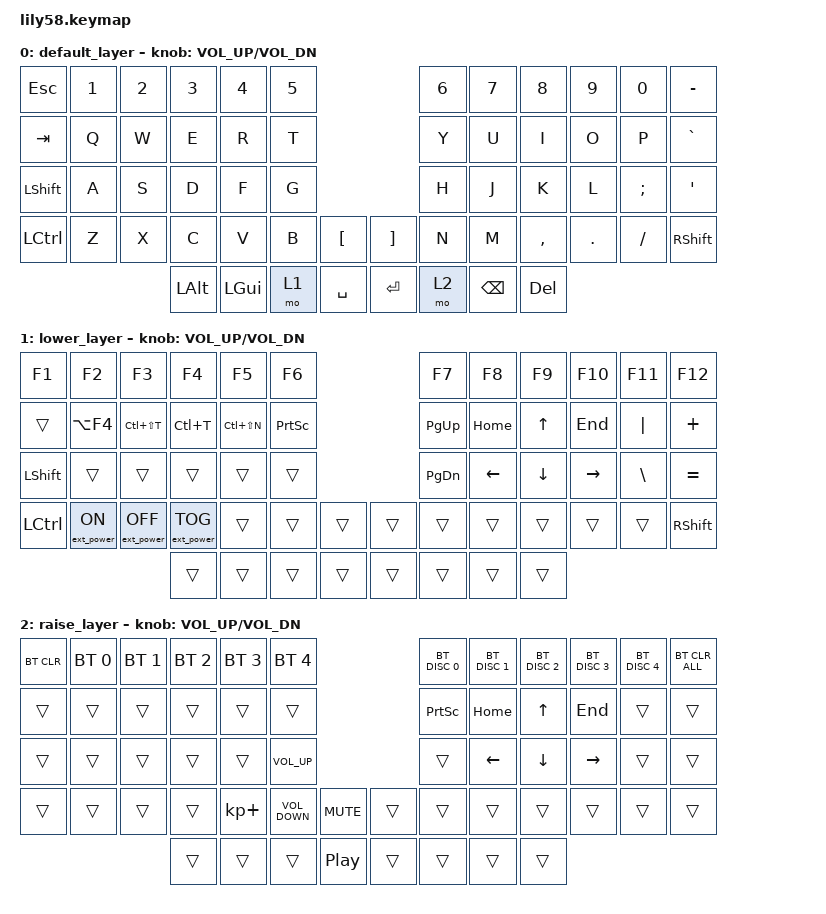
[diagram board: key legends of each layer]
/*
 * Copyright (c) 2020 The ZMK Contributors
 *
 * SPDX-License-Identifier: MIT
 */

#include <behaviors.dtsi>
#include <dt-bindings/zmk/bt.h>
#include <dt-bindings/zmk/ext_power.h>
#include <dt-bindings/zmk/keys.h>

/ {
    keymap {
        compatible = "zmk,keymap";

        default_layer {
            // ------------------------------------------------------------------------------------------------------------
            // |  ESC  |  1  |  2  |  3   |  4   |  5   |                   |  6   |  7    |  8    |  9   |   0   |   `   |
            // |  TAB  |  Q  |  W  |  E   |  R   |  T   |                   |  Y   |  U    |  I    |  O   |   P   |   -   |
            // |  CTRL |  A  |  S  |  D   |  F   |  G   |                   |  H   |  J    |  K    |  L   |   ;   |   '   |
            // | SHIFT |  Z  |  X  |  C   |  V   |  B   |   "["  |  |  "]"  |  N   |  M    |  ,    |  .   |   /   | SHIFT |
            //                     | ALT  | GUI  | LOWER|  SPACE |  | ENTER | RAISE| BSPC  | GUI   |

            bindings = <
&kp ESC           &kp N1  &kp N2  &kp N3    &kp N4    &kp N5                         &kp N6  &kp N7         &kp N8      &kp N9   &kp N0    &kp MINUS
&kp TAB           &kp Q   &kp W   &kp E     &kp R     &kp T                          &kp Y   &kp U          &kp I       &kp O    &kp P     &kp GRAVE
&kp LEFT_SHIFT    &kp A   &kp S   &kp D     &kp F     &kp G                          &kp H   &kp J          &kp K       &kp L    &kp SEMI  &kp SQT
&kp LEFT_CONTROL  &kp Z   &kp X   &kp C     &kp V     &kp B   &kp LBKT     &kp RBKT  &kp N   &kp M          &kp COMMA   &kp DOT  &kp FSLH  &kp RSHFT
                                  &kp LALT  &kp LGUI  &mo 1   &kp SPACE    &kp RET   &mo 2   &kp BACKSPACE  &kp DELETE
            >;

            sensor-bindings = <&inc_dec_kp C_VOL_UP C_VOL_DN>;
        };

        lower_layer {
            // ------------------------------------------------------------------------------------------------------------
            // | BTCLR | BT1 | BT2 |  BT3 |  BT4 |  BT5 |                   |      |       |       |      |       |       |
            // |  F1   |  F2 |  F3 |  F4  |  F5  |  F6  |                   |  F7  |  F8   |  F9   |  F10 |  F11  |  F12  |
            // |   `   |  !  |  @  |  #   |  $   |  %   |                   |  ^   |  &    |  *    |  (   |   )   |   ~   |
            // |       |     |     |      |      |      |        |  |       |      |  _    |  +    |  {   |   }   |  "|"  |
            //                     |      |      |      |        |  |       |      |       |       |

            bindings = <
&kp F1            &kp F2            &kp F3             &kp F4             &kp F5         &kp F6                             &kp F7         &kp F8          &kp F9          &kp F10    &kp F11        &kp F12
&trans            &kp LA(F4)        &kp LC(LS(T))      &kp LC(T)          &kp LC(LS(N))  &kp PRINTSCREEN                    &kp PG_UP      &kp HOME        &kp UP_ARROW    &kp END    &kp PIPE       &kp PLUS
&kp LEFT_SHIFT    &trans            &trans             &trans             &trans         &trans                             &kp PAGE_DOWN  &kp LEFT_ARROW  &kp DOWN_ARROW  &kp RIGHT  &kp BACKSLASH  &kp EQUAL
&kp LEFT_CONTROL  &ext_power EP_ON  &ext_power EP_OFF  &ext_power EP_TOG  &trans         &trans           &trans    &trans  &trans         &trans          &trans          &trans     &trans         &kp RIGHT_SHIFT
                                                       &trans             &trans         &trans           &trans    &trans  &trans         &trans          &trans
            >;

            sensor-bindings = <&inc_dec_kp C_VOL_UP C_VOL_DN>;
        };

        raise_layer {
            // ------------------------------------------------------------------------------------------------------------
            // |       |     |     |      |      |      |                   |      |       |       |      |       |       |
            // |   `   |  1  |  2  |  3   |  4   |  5   |                   |  6   |   7   |   8   |  9   |   0   |       |
            // |   F1  |  F2 |  F3 |  F4  |  F5  |  F6  |                   |      |   <-  |   v   |  ^   |  ->   |       |
            // |   F7  |  F8 |  F9 |  F10 |  F11 |  F12 |        |  |       |  +   |   -   |   =   |  [   |   ]   |   \   |
            //                     |      |      |      |        |  |       |      |       |       |

            bindings = <
&bt BT_CLR  &bt BT_SEL 0  &bt BT_SEL 1  &bt BT_SEL 2  &bt BT_SEL 3  &bt BT_SEL 4                                   &bt BT_DISC 0    &bt BT_DISC 1   &bt BT_DISC 2  &bt BT_DISC 3    &bt BT_DISC 4  &bt BT_CLR_ALL
&trans      &trans        &trans        &trans        &trans        &trans                                         &kp PRINTSCREEN  &kp HOME        &kp UP         &kp END          &trans         &trans
&trans      &trans        &trans        &trans        &trans        &kp C_VOLUME_UP                                &trans           &kp LEFT_ARROW  &kp DOWN       &kp RIGHT_ARROW  &trans         &trans
&trans      &trans        &trans        &trans        &kp KP_PLUS   &kp C_VOLUME_DOWN  &kp C_MUTE          &trans  &trans           &trans          &trans         &trans           &trans         &trans
                                        &trans        &trans        &trans             &kp C_PLAY_PAUSE    &trans  &trans           &trans          &trans
            >;

            sensor-bindings = <&inc_dec_kp C_VOL_UP C_VOL_DN>;
        };
    };
};
